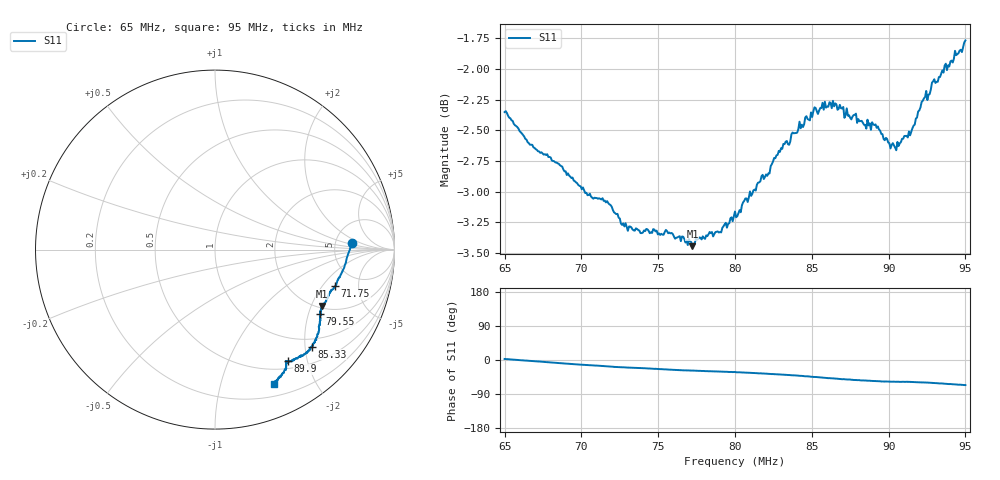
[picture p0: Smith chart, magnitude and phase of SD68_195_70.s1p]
! NanoVNA-App
! Date: 2025-08-09 16:16:46
! Start: 65MHz Stop: 95MHz Points: 401
! S-Parameter data: F S11
# Hz S RI R 50
!  Frequency  S11_Real  S11_Imag
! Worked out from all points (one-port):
!   401 points, 65 MHz to 95 MHz, reference 50 ohm
!   lowest |S11| = -3.4 dB at 77.22 MHz (marker M1), VSWR 5.11, Z = 104 - j119 ohm
!   |S11| at or under -10 dB: nowhere
!   S11 on the Smith chart (normalised r, x): 65 MHz: 7.21, +1.26; 71.75 MHz: 3.39, -2.71; 79.55 MHz: 1.76, -2.39; 85.33 MHz: 0.83, -2.14; 89.9 MHz: 0.60, -1.68; 95 MHz: 0.33, -1.48
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6.5e7  0.7619 0.0367
6.6575e7  0.7403 -0.0277
6.875e7  0.7167 -0.1079
6.98e7  0.6969 -0.1474
7.175e7  0.67 -0.2038
7.25e7  0.6529 -0.2239
7.385e7  0.6346 -0.2465
7.565e7  0.6161 -0.2896
7.625e7  0.607 -0.3023
7.7225e7  0.5947 -0.3142
7.955e7  0.586 -0.3582
8e7  0.5917 -0.3642
8.2025e7  0.5818 -0.4232
8.27e7  0.5799 -0.4476
8.375e7  0.5705 -0.4843
8.5325e7  0.5393 -0.5404
8.6075e7  0.5135 -0.5694
8.69e7  0.4866 -0.5911
8.75e7  0.472 -0.594
8.7725e7  0.4607 -0.6053
8.9075e7  0.4282 -0.6201
8.96e7  0.4108 -0.6241
8.99e7  0.407 -0.6226
9.0575e7  0.3985 -0.6256
9.125e7  0.3995 -0.6287
9.2375e7  0.3956 -0.6649
9.3575e7  0.3656 -0.7021
9.5e7  0.3292 -0.7465
